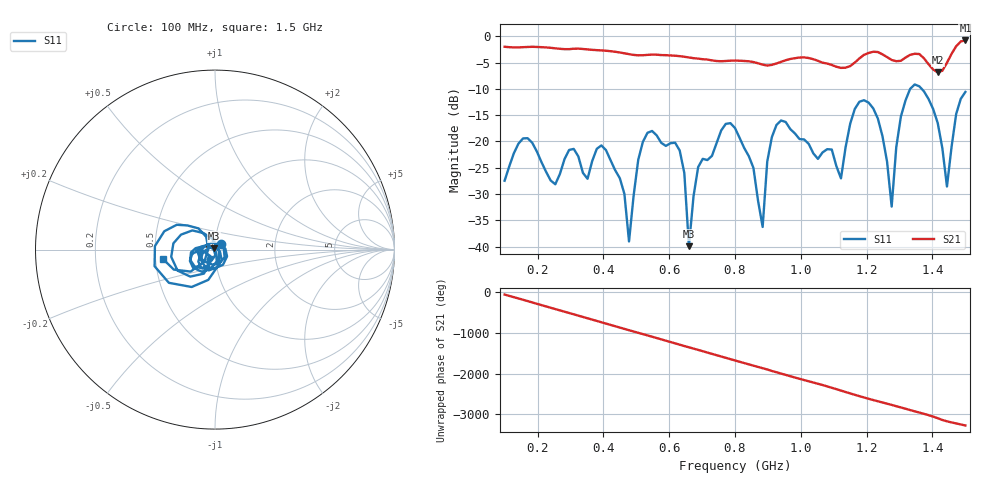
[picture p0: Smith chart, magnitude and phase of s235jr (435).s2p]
! NanoVNA-App
! Date: 2025-09-25 15:07:33
! Start: 100MHz Stop: 1,5GHz Points: 101
! S-Parameter data: F S11 S21 S12 S22
# Hz S RI R 50
!  Frequency  S11_Real  S11_Imag  S21_Real  S21_Imag  S12_Real  S12_Imag  S22_Real  S22_Imag
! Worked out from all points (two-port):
!   101 points, 100 MHz to 1.5 GHz, reference 50 ohm
!   highest |S21| = -0.76 dB at 1.5 GHz (marker M1); lowest = -6.8 dB at 1.416 GHz (marker M2)
!   |S21| within 3 dB of the highest: start of sweep to 633.8 MHz; 1.187 GHz to 1.258 GHz (71.02 MHz wide, 5.81 % of centre) (the widest 2 of 4)
!   lowest |S11| = -39.9 dB at 660 MHz (marker M3), VSWR 1.02, Z = 49.2 + j0.618 ohm
!   |S11| at or under -10 dB: start of sweep to 1.332 GHz; 1.367 GHz to end of sweep
!   S12 and S22 are empty: the file has one direction only
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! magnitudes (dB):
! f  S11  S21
! 100 MHz  -27.5  -2.0
! 156 MHz  -19.4  -2.0
! 338 MHz  -26.0  -2.4
! 408 MHz  -21.6  -2.7
! 478 MHz  -39.0  -3.4
! 520 MHz  -20.1  -3.6
! 576 MHz  -20.3  -3.5
! 632 MHz  -21.7  -3.7
! 660 MHz  -39.9  -4.0
! 688 MHz  -24.9  -4.2
! 800 MHz  -17.4  -4.6
! 884 MHz  -36.3  -5.4
! 926 MHz  -16.9  -5.1
! 1.038 GHz  -22.3  -4.3
! 1.122 GHz  -27.0  -6.0
! 1.164 GHz  -13.8  -5.0
! 1.206 GHz  -12.6  -3.1
! 1.276 GHz  -32.4  -4.5
! 1.332 GHz  -10.0  -3.5
! 1.416 GHz  -16.5  -6.8
! 1.444 GHz  -28.6  -5.0
! 1.5 GHz  -10.6  -0.8
